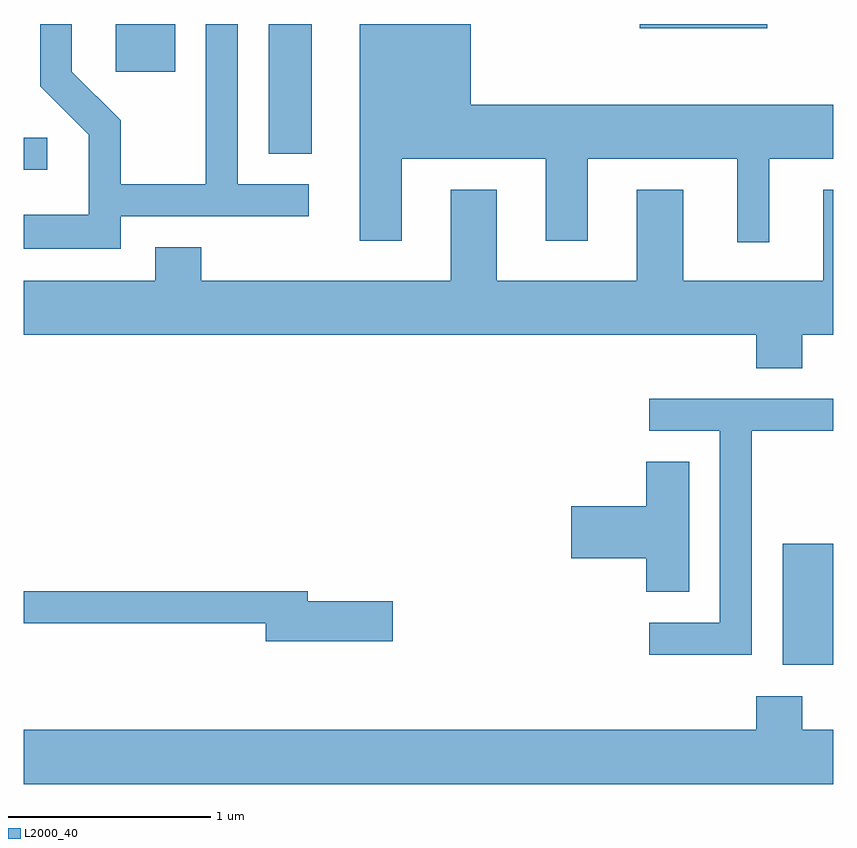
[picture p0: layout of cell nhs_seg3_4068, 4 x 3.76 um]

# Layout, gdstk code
import gdstk
lib = gdstk.Library(unit=1e-6, precision=1e-09)
def R(c, l, rs):  # rectangles x0, y0, x1, y1
    for r in rs: c.add(gdstk.rectangle(r[:2], r[2:], *l))
def P(c, l, *ps):  # polygons
    for p in ps: c.add(gdstk.Polygon(p, *l))
L2000_40 = (2000, 40)

nhs_seg3_4068 = lib.new_cell('nhs_seg3_4068')
R(nhs_seg3_4068, L2000_40, [(307.361,1228.726,307.611,1229.324), (303.611,1231.171,303.728,1231.329), (304.821,1231.251,305.034,1231.892), (304.066,1231.656,304.359,1231.892), (306.656,1231.871,307.284,1231.892)])
P(nhs_seg3_4068, L2000_40, [(304.089,1230.941),(305.018,1230.941),(305.018,1231.099),(304.669,1231.099),(304.669,1231.892),(304.511,1231.892),(304.511,1231.099),(304.089,1231.099),(304.089,1231.417),(303.849,1231.657),(303.849,1231.892),(303.691,1231.892),(303.691,1231.584),(303.931,1231.344),(303.931,1230.949),(303.611,1230.949),(303.611,1230.781),(304.089,1230.781)],
  [(307.294,1231.226),(307.611,1231.226),(307.611,1231.494),(305.819,1231.494),(305.819,1231.892),(305.271,1231.892),(305.271,1230.821),(305.479,1230.821),(305.479,1231.226),(306.191,1231.226),(306.191,1230.821),(306.399,1230.821),(306.399,1231.226),(307.136,1231.226),(307.136,1230.813),(307.294,1230.813)],
  [(307.459,1230.356),(307.611,1230.356),(307.611,1231.074),(307.561,1231.074),(307.561,1230.624),(306.869,1230.624),(306.869,1231.074),(306.641,1231.074),(306.641,1230.624),(305.949,1230.624),(305.949,1231.074),(305.721,1231.074),(305.721,1230.624),(304.489,1230.624),(304.489,1230.789),(304.261,1230.789),(304.261,1230.624),(303.611,1230.624),(303.611,1230.356),(307.231,1230.356),(307.231,1230.191),(307.459,1230.191)],
  [(307.209,1229.881),(307.611,1229.881),(307.611,1230.039),(306.703,1230.039),(306.703,1229.881),(307.051,1229.881),(307.051,1228.934),(306.703,1228.934),(306.703,1228.776),(307.209,1228.776)],
  [(306.899,1229.729),(306.686,1229.729),(306.686,1229.509),(306.316,1229.509),(306.316,1229.251),(306.686,1229.251),(306.686,1229.086),(306.899,1229.086)],
  [(305.434,1229.039),(305.014,1229.039),(305.014,1229.089),(303.611,1229.089),(303.611,1228.931),(304.806,1228.931),(304.806,1228.841),(305.434,1228.841)],
  [(307.611,1228.404),(307.459,1228.404),(307.459,1228.569),(307.231,1228.569),(307.231,1228.404),(303.611,1228.404),(303.611,1228.136),(307.611,1228.136)])

lib.write_gds('nhs_seg3_4068.gds')
